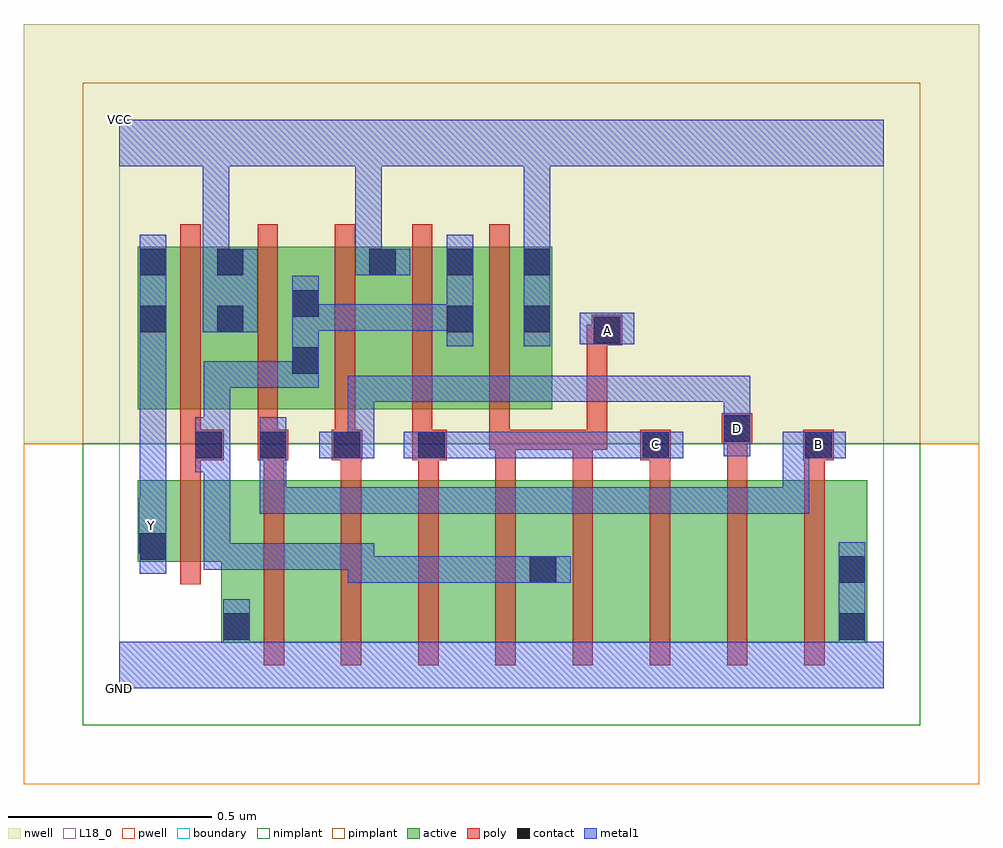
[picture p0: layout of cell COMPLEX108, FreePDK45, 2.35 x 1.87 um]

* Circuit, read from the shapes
.subckt COMPLEX108 A B C D GND VCC Y
M1 GND n1 Y VSUBS nfet w=0.2u l=0.05u
M2 n2 B GND VSUBS nfet w=0.4u l=0.05u
M3 n3 D n2 VSUBS nfet w=0.4u l=0.05u
M4 n4 C n3 VSUBS nfet w=0.4u l=0.05u
M5 n1 A n4 VSUBS nfet w=0.4u l=0.05u
M6 n5 A n1 VSUBS nfet w=0.4u l=0.05u
M7 n6 C n5 VSUBS nfet w=0.4u l=0.05u
M8 n7 D n6 VSUBS nfet w=0.4u l=0.05u
M9 GND B n7 VSUBS nfet w=0.4u l=0.05u
M10 VCC n1 Y n8 pfet w=0.4u l=0.05u
M11 n1 B VCC n8 pfet w=0.4u l=0.05u
M12 VCC D n1 n8 pfet w=0.4u l=0.05u
M13 n1 C VCC n8 pfet w=0.4u l=0.05u
M14 VCC A n1 n8 pfet w=0.4u l=0.05u
.ends

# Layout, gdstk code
import gdstk
lib = gdstk.Library(unit=1e-6, precision=1e-09)
def R(c, l, rs):  # rectangles x0, y0, x1, y1
    for r in rs: c.add(gdstk.rectangle(r[:2], r[2:], *l))
def A(c, l, x, y, w, h, nx, ny, dx, dy):  # array of equal rectangles
    R(c, l, [(x+i*dx, y+j*dy, x+i*dx+w, y+j*dy+h) for i in range(nx) for j in range(ny)])
active = (1, 0)
pwell = (2, 0)
nwell = (3, 0)
nimplant = (4, 0)
pimplant = (5, 0)
poly = (9, 0)
contact = (10, 0)
metal1 = (11, 0)
L18_0 = (18, 0)
boundary = (235, 0)

complex108 = lib.new_cell('COMPLEX108')
A(complex108, active, 0.42, 0.687, 0.265, 0.4, 3, 1, 0.19, 0)
R(complex108, active, [(0.25,0.112,0.475,0.512), (0.475,0.112,0.665,0.512), (0.665,0.112,0.855,0.512), (0.855,0.112,1.08,0.512), (1.005,0.112,1.235,0.512), (1.235,0.112,1.425,0.512), (1.425,0.112,1.615,0.512), (1.615,0.112,1.84,0.512), (1.765,0.112,1.84,0.512), (0.25,0.115,0.325,0.312), (1.005,0.147,1.08,0.512), (0.045,0.312,0.325,0.512), (0.045,0.312,0.12,0.512), (0.045,0.687,0.12,1.087), (0.045,0.687,0.31,1.087), (0.235,0.687,0.495,1.087), (0.42,0.687,0.495,1.067), (0.99,0.72,1.065,1.087), (0.235,0.802,0.31,1.087), (0.8,0.802,0.875,1.087), (0.61,0.907,0.685,1.087)])
R(complex108, pwell, [(-0.235,-0.235,2.115,0.602)])
R(complex108, nwell, [(-0.235,0.602,2.115,1.635)])
R(complex108, nimplant, [(-0.09,-0.09,1.97,0.602)])
R(complex108, pimplant, [(-0.09,0.602,1.97,1.49)])
A(complex108, poly, 0.355, 0.057, 0.05, 0.51, 8, 1, 0.19, 0)
A(complex108, poly, 0.355, 0.517, 0.05, 0.095, 3, 1, 0.19, 0)
A(complex108, poly, 0.15, 0.587, 0.05, 0.095, 5, 1, 0.19, 0)
A(complex108, poly, 0.15, 0.632, 0.05, 0.51, 5, 1, 0.19, 0)
R(complex108, poly, [(0.15,0.257,0.2,0.567), (0.15,0.517,0.2,0.612), (0.925,0.517,0.975,0.637), (1.115,0.517,1.165,0.637), (1.305,0.517,1.355,0.612), (1.495,0.517,1.545,0.652), (1.685,0.517,1.735,0.612), (0.15,0.562,0.257,0.637), (0.34,0.562,0.415,0.637), (0.522,0.562,0.597,0.637), (0.72,0.562,0.805,0.637), (1.282,0.562,1.357,0.637), (1.682,0.562,1.757,0.637), (0.91,0.587,0.975,0.637), (0.925,0.587,1.165,0.637), (1.115,0.587,1.165,0.637), (1.115,0.587,1.165,0.637), (1.115,0.587,1.2,0.637), (1.15,0.587,1.2,0.895), (1.482,0.602,1.557,0.677), (1.15,0.845,1.212,0.895), (1.162,0.845,1.237,0.92), (1.162,0.845,1.212,0.895)])
A(complex108, contact, 0.615, 1.017, 0.065, 0.065, 3, 1, 0.19, 0)
R(complex108, contact, [(0.255,0.12,0.32,0.185), (1.77,0.12,1.835,0.185), (1.01,0.26,1.075,0.325), (1.77,0.26,1.835,0.325), (0.05,0.317,0.115,0.382), (0.187,0.567,0.252,0.632), (0.345,0.567,0.41,0.632), (0.527,0.567,0.592,0.632), (0.735,0.567,0.8,0.632), (1.287,0.567,1.352,0.632), (1.687,0.567,1.752,0.632), (1.487,0.607,1.552,0.672), (0.425,0.775,0.49,0.84), (1.167,0.85,1.232,0.915), (0.05,0.877,0.115,0.942), (0.24,0.877,0.305,0.942), (0.805,0.877,0.87,0.942), (0.995,0.877,1.06,0.942), (0.425,0.915,0.49,0.98), (0.05,1.017,0.115,1.082), (0.24,1.017,0.305,1.082)])
R(complex108, metal1, [(0,0,1.88,0.115), (0.255,0.05,0.32,0.15), (1.77,0.05,1.835,0.15), (0.255,0.085,0.32,0.22), (1.77,0.085,1.835,0.36), (0.562,0.26,0.627,0.325), (0.562,0.26,0.627,0.325), (0.562,0.26,0.765,0.325), (0.562,0.26,0.627,0.357), (0.7,0.26,0.765,0.325), (0.7,0.26,0.765,0.325), (0.7,0.26,0.765,0.325), (0.7,0.26,0.972,0.325), (0.907,0.26,0.972,0.325), (0.907,0.26,1.04,0.325), (0.975,0.26,1.11,0.325), (0.05,0.282,0.115,0.417), (0.207,0.292,0.272,0.357), (0.207,0.292,0.42,0.357), (0.207,0.292,0.272,0.597), (0.355,0.292,0.42,0.357), (0.355,0.292,0.42,0.357), (0.355,0.292,0.42,0.357), (0.355,0.292,0.627,0.357), (0.047,0.332,0.115,0.467), (0.05,0.332,0.115,0.397), (0.05,0.402,0.115,0.907), (0.345,0.43,0.41,0.495), (0.345,0.43,0.627,0.495), (0.345,0.43,0.41,0.597), (0.562,0.43,0.627,0.495), (0.562,0.43,0.627,0.495), (0.562,0.43,0.627,0.495), (0.562,0.43,0.835,0.495), (0.77,0.43,0.835,0.495), (0.77,0.43,0.835,0.495), (0.77,0.43,0.835,0.495), (0.77,0.43,0.972,0.495), (0.907,0.43,0.972,0.495), (0.907,0.43,1.11,0.495), (1.045,0.43,1.11,0.495), (1.045,0.43,1.11,0.495), (1.045,0.43,1.11,0.495), (1.045,0.43,1.247,0.495), (1.182,0.43,1.247,0.495), (1.182,0.43,1.385,0.495), (1.32,0.43,1.385,0.495), (1.32,0.43,1.385,0.495), (1.32,0.43,1.385,0.495), (1.32,0.43,1.525,0.495), (1.46,0.43,1.525,0.495), (1.46,0.43,1.697,0.495), (1.632,0.43,1.697,0.632), (1.632,0.43,1.697,0.495), (0.187,0.532,0.272,0.597), (0.187,0.532,0.252,0.667), (0.207,0.532,0.272,0.597), (0.207,0.532,0.272,0.597), (0.207,0.532,0.272,0.597), (0.207,0.532,0.272,0.805), (0.345,0.532,0.41,0.597), (0.345,0.532,0.41,0.597), (0.345,0.532,0.41,0.667), (0.492,0.567,0.627,0.632), (0.562,0.567,0.627,0.632), (0.562,0.567,0.627,0.632), (0.562,0.567,0.627,0.77), (0.7,0.567,0.835,0.632), (0.77,0.567,0.835,0.632), (0.77,0.567,0.835,0.632), (0.77,0.567,0.972,0.632), (0.907,0.567,0.972,0.632), (0.907,0.567,1.11,0.632), (1.045,0.567,1.11,0.632), (1.045,0.567,1.11,0.632), (1.045,0.567,1.11,0.632), (1.045,0.567,1.247,0.632), (1.182,0.567,1.317,0.632), (1.182,0.567,1.247,0.632), (1.252,0.567,1.387,0.632), (1.632,0.567,1.717,0.632), (1.632,0.567,1.697,0.632), (1.652,0.567,1.787,0.632), (1.487,0.572,1.552,0.707), (1.487,0.642,1.552,0.707), (1.487,0.642,1.552,0.707), (1.487,0.642,1.552,0.77), (0.562,0.705,0.627,0.77), (0.562,0.705,0.835,0.77), (0.77,0.705,0.835,0.77), (0.77,0.705,0.835,0.77), (0.77,0.705,0.835,0.77), (0.77,0.705,0.972,0.77), (0.907,0.705,0.972,0.77), (0.907,0.705,1.11,0.77), (1.045,0.705,1.11,0.77), (1.045,0.705,1.11,0.77), (1.045,0.705,1.11,0.77), (1.045,0.705,1.247,0.77), (1.182,0.705,1.247,0.77), (1.182,0.705,1.247,0.77), (1.182,0.705,1.247,0.77), (1.182,0.705,1.552,0.77), (1.487,0.705,1.552,0.77), (0.207,0.74,0.272,0.805), (0.207,0.74,0.407,0.805), (0.342,0.74,0.407,0.805), (0.342,0.74,0.49,0.805), (0.425,0.74,0.49,1.015), (0.05,0.842,0.115,1.117), (0.805,0.842,0.87,1.117), (0.995,0.842,1.06,1.117), (1.132,0.847,1.267,0.925), (0.205,0.877,0.34,1.082), (0.425,0.88,0.49,0.945), (0.425,0.88,0.49,1.015), (0.425,0.88,0.627,0.945), (0.562,0.88,0.627,0.945), (0.562,0.88,0.627,0.945), (0.562,0.88,0.627,0.945), (0.562,0.88,0.835,0.945), (0.77,0.88,0.835,0.945), (0.77,0.88,0.87,0.945), (0.205,1.017,0.27,1.082), (0.205,1.017,0.27,1.082), (0.205,1.017,0.27,1.35), (0.58,1.017,0.715,1.082), (0.58,1.017,0.645,1.082), (0.58,1.017,0.645,1.082), (0.58,1.017,0.645,1.35), (0.995,1.052,1.06,1.35), (0,1.285,1.88,1.4), (0.995,1.285,1.06,1.35), (0.995,1.285,1.06,1.35)])
R(complex108, L18_0, [(0,0,1.88,0.115), (0.255,0.05,0.32,0.15), (1.77,0.05,1.835,0.15), (0.255,0.085,0.32,0.22), (1.77,0.085,1.835,0.36), (0.05,0.282,0.115,0.417), (0.047,0.332,0.115,0.467), (0.05,0.332,0.115,0.397), (0.047,0.367,0.112,0.432), (0.05,0.402,0.115,0.907), (0.345,0.43,0.41,0.495), (0.345,0.43,0.41,0.597), (0.345,0.43,0.627,0.495), (0.562,0.43,0.627,0.495), (0.562,0.43,0.627,0.495), (0.562,0.43,0.627,0.495), (0.562,0.43,0.835,0.495), (0.77,0.43,0.835,0.495), (0.77,0.43,0.835,0.495), (0.77,0.43,0.835,0.495), (0.77,0.43,0.972,0.495), (0.907,0.43,0.972,0.495), (0.907,0.43,1.11,0.495), (1.045,0.43,1.11,0.495), (1.045,0.43,1.11,0.495), (1.045,0.43,1.11,0.495), (1.045,0.43,1.247,0.495), (1.182,0.43,1.247,0.495), (1.182,0.43,1.385,0.495), (1.32,0.43,1.385,0.495), (1.32,0.43,1.385,0.495), (1.32,0.43,1.385,0.495), (1.32,0.43,1.525,0.495), (1.46,0.43,1.525,0.495), (1.46,0.43,1.697,0.495), (1.632,0.43,1.697,0.495), (1.632,0.43,1.697,0.632), (0.345,0.532,0.41,0.667), (0.345,0.532,0.41,0.597), (0.345,0.532,0.41,0.597), (0.492,0.567,0.627,0.632), (0.562,0.567,0.627,0.632), (0.562,0.567,0.627,0.632), (0.562,0.567,0.627,0.77), (0.7,0.567,0.835,0.632), (0.77,0.567,0.835,0.632), (0.77,0.567,0.835,0.632), (0.77,0.567,0.972,0.632), (0.907,0.567,0.972,0.632), (0.907,0.567,1.11,0.632), (1.045,0.567,1.11,0.632), (1.045,0.567,1.11,0.632), (1.045,0.567,1.11,0.632), (1.045,0.567,1.247,0.632), (1.182,0.567,1.247,0.632), (1.182,0.567,1.317,0.632), (1.252,0.567,1.387,0.632), (1.287,0.567,1.352,0.632), (1.632,0.567,1.697,0.632), (1.632,0.567,1.717,0.632), (1.652,0.567,1.787,0.632), (1.687,0.567,1.752,0.632), (1.487,0.572,1.552,0.707), (1.487,0.607,1.552,0.672), (1.487,0.642,1.552,0.707), (1.487,0.642,1.552,0.707), (1.487,0.642,1.552,0.77), (0.562,0.705,0.627,0.77), (0.562,0.705,0.835,0.77), (0.77,0.705,0.835,0.77), (0.77,0.705,0.835,0.77), (0.77,0.705,0.835,0.77), (0.77,0.705,0.972,0.77), (0.907,0.705,0.972,0.77), (0.907,0.705,1.11,0.77), (1.045,0.705,1.11,0.77), (1.045,0.705,1.11,0.77), (1.045,0.705,1.11,0.77), (1.045,0.705,1.247,0.77), (1.182,0.705,1.247,0.77), (1.182,0.705,1.247,0.77), (1.182,0.705,1.247,0.77), (1.182,0.705,1.552,0.77), (1.487,0.705,1.552,0.77), (0.05,0.842,0.115,1.117), (0.995,0.842,1.06,1.117), (1.132,0.847,1.267,0.925), (1.167,0.847,1.232,0.912), (0.205,0.877,0.34,1.082), (0.205,1.017,0.27,1.082), (0.205,1.017,0.27,1.082), (0.205,1.017,0.27,1.35), (0.58,1.017,0.645,1.082), (0.58,1.017,0.645,1.082), (0.58,1.017,0.645,1.35), (0.58,1.017,0.715,1.082), (0.995,1.052,1.06,1.35), (0,1.285,1.88,1.4), (0.995,1.285,1.06,1.35), (0.995,1.285,1.06,1.35)])
R(complex108, boundary, [(0,0,1.88,1.4)])
complex108.add(gdstk.Label('A', (1.2,0.88), layer=11, texttype=0))
complex108.add(gdstk.Label('B', (1.72,0.6), layer=11, texttype=0))
complex108.add(gdstk.Label('C', (1.32,0.6), layer=11, texttype=0))
complex108.add(gdstk.Label('D', (1.52,0.64), layer=11, texttype=0))
complex108.add(gdstk.Label('Y', (0.08,0.4), layer=11, texttype=0))
complex108.add(gdstk.Label('VCC', (0,1.4), layer=11, texttype=0))
complex108.add(gdstk.Label('GND', (0,0), layer=11, texttype=0))

lib.write_gds('COMPLEX108.gds')
